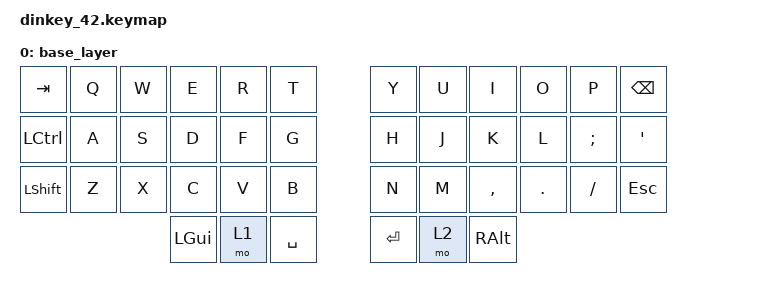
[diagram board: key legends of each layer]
/*
 * Copyright (c) 2021 The ZMK Contributors
 *
 * SPDX-License-Identifier: MIT
 *
 *Sample keymap
 */

#include <behaviors.dtsi>
#include <dt-bindings/zmk/bt.h>
#include <dt-bindings/zmk/keys.h>



/{
    keymap {
        compatible = "zmk,keymap";

        base_layer {
            bindings = <
   &kp TAB   &kp Q &kp W &kp E &kp R &kp T   &kp Y &kp U  &kp I     &kp O   &kp P    &kp BSPC
   &kp LCTRL &kp A &kp S &kp D &kp F &kp G   &kp H &kp J  &kp K     &kp L   &kp SEMI &kp SQT
   &kp LSHFT &kp Z &kp X &kp C &kp V &kp B   &kp N &kp M  &kp COMMA &kp DOT &kp FSLH &kp ESC
                  &kp LGUI &mo 1 &kp SPACE   &kp RET &mo 2 &kp RALT
            >;
        };
    };
};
